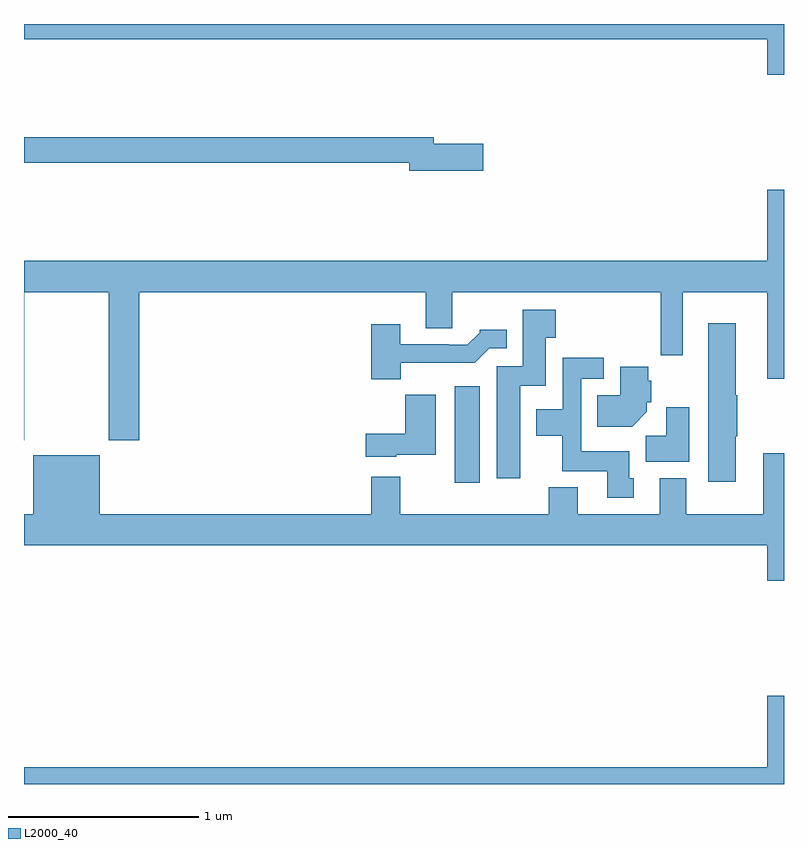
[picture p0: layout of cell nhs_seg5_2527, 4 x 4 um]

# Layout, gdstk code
import gdstk
lib = gdstk.Library(unit=1e-6, precision=1e-09)
def R(c, l, rs):  # rectangles x0, y0, x1, y1
    for r in rs: c.add(gdstk.rectangle(r[:2], r[2:], *l))
def P(c, l, *ps):  # polygons
    for p in ps: c.add(gdstk.Polygon(p, *l))
L2000_40 = (2000, 40)

nhs_seg5_2527 = lib.new_cell('nhs_seg5_2527')
R(nhs_seg5_2527, L2000_40, [(259.268,894.384,259.399,894.892)])
P(nhs_seg5_2527, L2000_40, [(261,896.799),(257,896.799),(257,896.72),(260.912,896.72),(260.912,896.532),(261,896.532)],
  [(259.416,896.168),(259.156,896.168),(259.156,896.204),(257,896.204),(257,896.068),(259.028,896.068),(259.028,896.026),(259.416,896.026)],
  [(257.001,895.388),(257.446,895.388),(257.446,894.609),(257.606,894.609),(257.606,895.388),(259.115,895.388),(259.115,895.198),(259.255,895.198),(259.255,895.388),(260.35,895.388),(260.35,895.056),(260.467,895.056),(260.467,895.388),(260.912,895.388),(260.912,894.933),(261,894.933),(261,895.927),(260.912,895.927),(260.912,895.552),(257,895.552),(257,894.609),(257.001,894.609)],
  [(259.612,894.896),(259.747,894.896),(259.747,895.147),(259.799,895.147),(259.799,895.294),(259.625,895.294),(259.625,894.999),(259.487,894.999),(259.487,894.408),(259.612,894.408)],
  [(260.746,894.628),(260.754,894.628),(260.754,894.845),(260.746,894.845),(260.746,895.225),(260.6,895.225),(260.6,894.39),(260.746,894.39)],
  [(258.982,895.016),(259.373,895.016),(259.449,895.092),(259.54,895.092),(259.54,895.189),(259.398,895.189),(259.398,895.174),(259.334,895.11),(259.235,895.11),(259.235,895.113),(258.979,895.113),(258.979,895.219),(258.827,895.219),(258.827,894.929),(258.982,894.929)],
  [(260.209,894.408),(260.185,894.408),(260.185,894.55),(259.932,894.55),(259.932,894.933),(260.05,894.933),(260.05,895.042),(259.836,895.042),(259.836,894.772),(259.697,894.772),(259.697,894.632),(259.834,894.632),(259.834,894.446),(260.069,894.446),(260.069,894.306),(260.209,894.306)],
  [(260.278,894.758),(260.278,894.807),(260.302,894.807),(260.302,894.921),(260.286,894.921),(260.286,894.994),(260.138,894.994),(260.138,894.844),(260.017,894.844),(260.017,894.68),(260.2,894.68)],
  [(258.96,894.533),(259.168,894.533),(259.168,894.847),(259.006,894.847),(259.006,894.643),(258.798,894.643),(258.798,894.521),(258.96,894.521)],
  [(260.5,894.781),(260.379,894.781),(260.379,894.632),(260.273,894.632),(260.273,894.494),(260.5,894.494)],
  [(261,894.541),(260.891,894.541),(260.891,894.22),(260.485,894.22),(260.485,894.409),(260.345,894.409),(260.345,894.22),(259.915,894.22),(259.915,894.361),(259.763,894.361),(259.763,894.22),(258.979,894.22),(258.979,894.415),(258.827,894.415),(258.827,894.22),(257.398,894.22),(257.398,894.529),(257.048,894.529),(257.048,894.22),(257,894.22),(257,894.056),(260.912,894.056),(260.912,893.868),(261,893.868)],
  [(261,893.263),(260.912,893.263),(260.912,892.888),(257,892.888),(257,892.799),(261,892.799)])

lib.write_gds('nhs_seg5_2527.gds')
